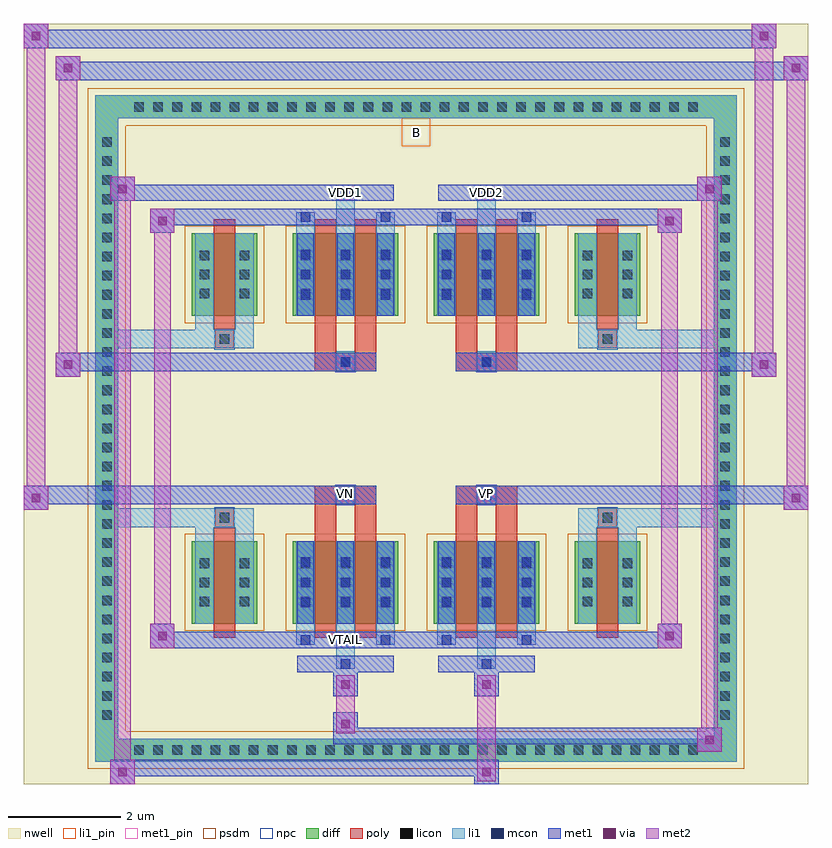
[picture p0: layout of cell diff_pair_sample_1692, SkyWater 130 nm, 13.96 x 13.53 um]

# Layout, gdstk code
import gdstk
lib = gdstk.Library(unit=1e-6, precision=5e-09)
def R(c, l, rs):  # rectangles x0, y0, x1, y1
    for r in rs: c.add(gdstk.rectangle(r[:2], r[2:], *l))
def A(c, l, x, y, w, h, nx, ny, dx, dy):  # array of equal rectangles
    R(c, l, [(x+i*dx, y+j*dy, x+i*dx+w, y+j*dy+h) for i in range(nx) for j in range(ny)])
def P(c, l, *ps):  # polygons
    for p in ps: c.add(gdstk.Polygon(p, *l))
nwell = (64, 20)
diff = (65, 20)
poly = (66, 20)
licon = (66, 44)
li1_pin = (67, 16)
li1 = (67, 20)
mcon = (67, 44)
met1_pin = (68, 16)
met1 = (68, 20)
via = (68, 44)
met2 = (69, 20)
psdm = (94, 20)
npc = (95, 20)

diff_pair_sample_1692 = lib.new_cell('diff_pair_sample_1692')
R(diff_pair_sample_1692, nwell, [(-6.98,-6.33,6.98,7.2), (-4.3,-4.52,-0.01,-0.82), (0.01,-4.52,4.3,-0.82), (-4.3,0.82,-0.01,4.52), (0.01,0.82,4.3,4.52)])
A(diff_pair_sample_1692, diff, -5.135, -5.93, 0.41, 0.41, 30, 2, 0.34, 11.45)
A(diff_pair_sample_1692, diff, -5.71, -5.305, 0.41, 0.41, 1, 31, 0, 0.34)
A(diff_pair_sample_1692, diff, 5.3, -5.305, 0.41, 0.41, 1, 31, 0, 0.34)
R(diff_pair_sample_1692, diff, [(-5.135,-5.93,5.135,-5.52), (-5.71,-5.305,-5.3,5.305), (5.3,-5.305,5.71,5.305), (-3.99,-3.475,-2.83,-2.005), (-2.19,-3.475,-0.32,-2.005), (0.32,-3.475,2.19,-2.005), (2.83,-3.475,3.99,-2.005), (-3.99,2.005,-2.83,3.475), (-2.19,2.005,-0.32,3.475), (0.32,2.005,2.19,3.475), (2.83,2.005,3.99,3.475), (-5.135,5.52,5.135,5.93)])
P(diff_pair_sample_1692, diff, [(5.71,5.93),(-5.71,5.93),(-5.71,-5.52),(-5.3,-5.52),(-5.3,5.52),(5.3,5.52),(5.3,-5.52),(-5.3,-5.52),(-5.71,-5.52),(-5.71,-5.93),(5.71,-5.93)])
R(diff_pair_sample_1692, poly, [(-3.6,-3.725,-3.22,-1.755), (-1.8,-3.725,-1.42,-1.755), (-1.09,-3.725,-0.71,-1.755), (0.71,-3.725,1.09,-1.755), (1.42,-3.725,1.8,-1.755), (3.22,-3.725,3.6,-1.755), (-3.575,-1.755,-3.245,-1.425), (-3.575,-1.755,-3.245,-1.425), (-1.8,-1.755,-1.42,-1.35), (-1.09,-1.755,-0.71,-1.35), (0.71,-1.755,1.09,-1.35), (1.42,-1.755,1.8,-1.35), (3.245,-1.755,3.575,-1.425), (3.245,-1.755,3.575,-1.425), (-1.8,-1.35,-0.71,-1.02), (-1.42,-1.35,-1.09,-1.02), (0.71,-1.35,1.8,-1.02), (1.09,-1.35,1.42,-1.02), (-1.8,1.02,-0.71,1.35), (-1.42,1.02,-1.09,1.35), (0.71,1.02,1.8,1.35), (1.09,1.02,1.42,1.35), (-1.8,1.35,-1.42,1.755), (-1.09,1.35,-0.71,1.755), (0.71,1.35,1.09,1.755), (1.42,1.35,1.8,1.755), (-3.575,1.425,-3.245,1.755), (-3.575,1.425,-3.245,1.755), (3.245,1.425,3.575,1.755), (3.245,1.425,3.575,1.755), (-3.6,1.755,-3.22,3.725), (-1.8,1.755,-1.42,3.725), (-1.09,1.755,-0.71,3.725), (0.71,1.755,1.09,3.725), (1.42,1.755,1.8,3.725), (3.22,1.755,3.6,3.725)])
A(diff_pair_sample_1692, licon, -5.015, -5.81, 0.17, 0.17, 30, 2, 0.34, 11.45)
A(diff_pair_sample_1692, licon, -5.59, -5.185, 0.17, 0.17, 1, 31, 0, 0.34)
A(diff_pair_sample_1692, licon, 5.42, -5.185, 0.17, 0.17, 1, 31, 0, 0.34)
A(diff_pair_sample_1692, licon, -3.85, -3.165, 0.17, 0.17, 1, 3, 0, 0.34)
A(diff_pair_sample_1692, licon, -3.14, -3.165, 0.17, 0.17, 1, 3, 0, 0.34)
A(diff_pair_sample_1692, licon, -2.05, -3.165, 0.17, 0.17, 3, 3, 0.71, 0.34)
A(diff_pair_sample_1692, licon, 0.46, -3.165, 0.17, 0.17, 3, 3, 0.71, 0.34)
A(diff_pair_sample_1692, licon, 2.97, -3.165, 0.17, 0.17, 1, 3, 0, 0.34)
A(diff_pair_sample_1692, licon, 3.68, -3.165, 0.17, 0.17, 1, 3, 0, 0.34)
A(diff_pair_sample_1692, licon, -3.85, 2.315, 0.17, 0.17, 1, 3, 0, 0.34)
A(diff_pair_sample_1692, licon, -3.14, 2.315, 0.17, 0.17, 1, 3, 0, 0.34)
A(diff_pair_sample_1692, licon, -2.05, 2.315, 0.17, 0.17, 3, 3, 0.71, 0.34)
A(diff_pair_sample_1692, licon, 0.46, 2.315, 0.17, 0.17, 3, 3, 0.71, 0.34)
A(diff_pair_sample_1692, licon, 2.97, 2.315, 0.17, 0.17, 1, 3, 0, 0.34)
A(diff_pair_sample_1692, licon, 3.68, 2.315, 0.17, 0.17, 1, 3, 0, 0.34)
R(diff_pair_sample_1692, licon, [(-3.495,-1.675,-3.325,-1.505), (3.325,-1.675,3.495,-1.505), (-1.34,-1.27,-1.17,-1.1), (1.17,-1.27,1.34,-1.1), (-1.34,1.1,-1.17,1.27), (1.17,1.1,1.34,1.27), (-3.495,1.505,-3.325,1.675), (3.325,1.505,3.495,1.675)])
R(diff_pair_sample_1692, li1_pin, [(-0.25,5.02,0.25,5.52)])
A(diff_pair_sample_1692, li1, -5.095, -5.89, 0.33, 0.33, 30, 2, 0.34, 11.45)
A(diff_pair_sample_1692, li1, -5.67, -5.265, 0.33, 0.33, 1, 31, 0, 0.34)
A(diff_pair_sample_1692, li1, 5.34, -5.265, 0.33, 0.33, 1, 31, 0, 0.34)
A(diff_pair_sample_1692, li1, -2.13, -3.475, 0.33, 1.47, 3, 2, 0.71, 5.48)
A(diff_pair_sample_1692, li1, 0.38, -3.475, 0.33, 1.47, 3, 2, 0.71, 5.48)
A(diff_pair_sample_1692, li1, -3.93, -3.245, 0.33, 0.33, 1, 3, 0, 0.34)
A(diff_pair_sample_1692, li1, -3.22, -3.245, 0.33, 0.33, 1, 3, 0, 0.34)
A(diff_pair_sample_1692, li1, -2.13, -3.245, 0.33, 0.33, 3, 3, 0.71, 0.34)
A(diff_pair_sample_1692, li1, 0.38, -3.245, 0.33, 0.33, 3, 3, 0.71, 0.34)
A(diff_pair_sample_1692, li1, 2.89, -3.245, 0.33, 0.33, 1, 3, 0, 0.34)
A(diff_pair_sample_1692, li1, 3.6, -3.245, 0.33, 0.33, 1, 3, 0, 0.34)
A(diff_pair_sample_1692, li1, -2.05, -3.185, 0.17, 0.17, 3, 3, 0.71, 0.36)
A(diff_pair_sample_1692, li1, -2.05, -3.185, 0.17, 0.89, 3, 2, 0.71, 5.48)
A(diff_pair_sample_1692, li1, 0.46, -3.185, 0.17, 0.17, 3, 3, 0.71, 0.36)
A(diff_pair_sample_1692, li1, 0.46, -3.185, 0.17, 0.89, 3, 2, 0.71, 5.48)
A(diff_pair_sample_1692, li1, -3.93, 2.235, 0.33, 0.33, 1, 3, 0, 0.34)
A(diff_pair_sample_1692, li1, -3.22, 2.235, 0.33, 0.33, 1, 3, 0, 0.34)
A(diff_pair_sample_1692, li1, -2.13, 2.235, 0.33, 0.33, 3, 3, 0.71, 0.34)
A(diff_pair_sample_1692, li1, 0.38, 2.235, 0.33, 0.33, 3, 3, 0.71, 0.34)
A(diff_pair_sample_1692, li1, 2.89, 2.235, 0.33, 0.33, 1, 3, 0, 0.34)
A(diff_pair_sample_1692, li1, 3.6, 2.235, 0.33, 0.33, 1, 3, 0, 0.34)
A(diff_pair_sample_1692, li1, -2.05, 2.295, 0.17, 0.17, 3, 3, 0.71, 0.36)
A(diff_pair_sample_1692, li1, 0.46, 2.295, 0.17, 0.17, 3, 3, 0.71, 0.36)
R(diff_pair_sample_1692, li1, [(-5.71,-5.93,-5.3,-5.52), (-5.71,-5.93,-5.3,-5.52), (-5.3,-5.93,5.3,-5.52), (5.3,-5.93,5.71,-5.52), (5.3,-5.93,5.71,-5.52), (-5.71,-5.52,-5.3,5.52), (5.3,-5.52,5.71,5.52), (-1.42,-4.28,-1.09,-3.475), (-1.34,-4.28,-1.17,-4.11), (1.09,-4.28,1.42,-3.475), (1.17,-4.28,1.34,-4.11), (-2.13,-3.85,-1.8,-3.475), (-2.05,-3.85,-1.88,-3.68), (-0.71,-3.85,-0.38,-3.475), (-0.63,-3.85,-0.46,-3.68), (0.38,-3.85,0.71,-3.475), (0.46,-3.85,0.63,-3.68), (1.8,-3.85,2.13,-3.475), (1.88,-3.85,2.05,-3.68), (-3.93,-3.475,-3.6,-2.005), (-3.22,-3.475,-2.89,-2.005), (2.89,-3.475,3.22,-2.005), (3.6,-3.475,3.93,-2.005), (-3.93,-2.005,-3.6,-1.425), (-3.22,-2.005,-2.89,-1.425), (2.89,-2.005,3.22,-1.425), (3.6,-2.005,3.93,-1.425), (-5.71,-1.755,-3.575,-1.425), (-3.93,-1.755,-3.575,-1.425), (-3.575,-1.755,-3.245,-1.425), (-3.245,-1.755,-2.89,-1.425), (2.89,-1.755,3.245,-1.425), (3.245,-1.755,3.575,-1.425), (3.245,-1.755,5.71,-1.425), (3.575,-1.755,3.93,-1.425), (-1.42,-1.35,-1.09,-1.02), (1.09,-1.35,1.42,-1.02), (-1.42,1.02,-1.09,1.35), (1.09,1.02,1.42,1.35), (-5.71,1.425,-3.575,1.755), (-3.93,1.425,-3.575,1.755), (-3.93,1.425,-3.6,2.005), (-3.575,1.425,-3.245,1.755), (-3.245,1.425,-2.89,1.755), (-3.22,1.425,-2.89,2.005), (2.89,1.425,3.245,1.755), (2.89,1.425,3.22,2.005), (3.245,1.425,3.575,1.755), (3.245,1.425,5.71,1.755), (3.575,1.425,3.93,1.755), (3.6,1.425,3.93,2.005), (-3.93,2.005,-3.6,3.475), (-3.22,2.005,-2.89,3.475), (2.89,2.005,3.22,3.475), (3.6,2.005,3.93,3.475), (-2.13,3.475,-1.8,3.85), (-1.42,3.475,-1.09,4.28), (-0.71,3.475,-0.38,3.85), (0.38,3.475,0.71,3.85), (1.09,3.475,1.42,4.28), (1.8,3.475,2.13,3.85), (-2.05,3.68,-1.88,3.85), (-0.63,3.68,-0.46,3.85), (0.46,3.68,0.63,3.85), (1.88,3.68,2.05,3.85), (-1.34,4.11,-1.17,4.28), (1.17,4.11,1.34,4.28), (-5.71,5.52,-5.3,5.93), (-5.71,5.52,-5.3,5.93), (-5.3,5.52,5.3,5.93), (5.3,5.52,5.71,5.93), (5.3,5.52,5.71,5.93)])
A(diff_pair_sample_1692, mcon, -2.05, -3.185, 0.17, 0.17, 3, 3, 0.71, 0.36)
A(diff_pair_sample_1692, mcon, 0.46, -3.185, 0.17, 0.17, 3, 3, 0.71, 0.36)
A(diff_pair_sample_1692, mcon, -2.05, 2.295, 0.17, 0.17, 3, 3, 0.71, 0.36)
A(diff_pair_sample_1692, mcon, 0.46, 2.295, 0.17, 0.17, 3, 3, 0.71, 0.36)
R(diff_pair_sample_1692, mcon, [(-1.34,-4.28,-1.17,-4.11), (1.17,-4.28,1.34,-4.11), (-2.05,-3.85,-1.88,-3.68), (-0.63,-3.85,-0.46,-3.68), (0.46,-3.85,0.63,-3.68), (1.88,-3.85,2.05,-3.68), (-1.34,-1.27,-1.17,-1.1), (1.17,-1.27,1.34,-1.1), (-1.34,1.1,-1.17,1.27), (1.17,1.1,1.34,1.27), (-2.05,3.68,-1.88,3.85), (-0.63,3.68,-0.46,3.85), (0.46,3.68,0.63,3.85), (1.88,3.68,2.05,3.85), (-1.34,4.11,-1.17,4.28), (1.17,4.11,1.34,4.28)])
R(diff_pair_sample_1692, met1_pin, [(-1.39,-3.89,-1.12,-3.62), (-1.39,-1.29,-1.12,-1.02), (1.12,-1.29,1.39,-1.02), (-1.39,4.07,-1.12,4.34), (1.12,4.07,1.39,4.34)])
A(diff_pair_sample_1692, met1, -2.11, -3.475, 0.29, 1.47, 3, 2, 0.71, 5.48)
A(diff_pair_sample_1692, met1, 0.4, -3.475, 0.29, 1.47, 3, 2, 0.71, 5.48)
A(diff_pair_sample_1692, met1, -2.11, -3.245, 0.29, 0.29, 3, 3, 0.71, 0.36)
A(diff_pair_sample_1692, met1, 0.4, -3.245, 0.29, 0.29, 3, 3, 0.71, 0.36)
A(diff_pair_sample_1692, met1, -2.11, 2.235, 0.29, 0.29, 3, 3, 0.71, 0.36)
A(diff_pair_sample_1692, met1, 0.4, 2.235, 0.29, 0.29, 3, 3, 0.71, 0.36)
R(diff_pair_sample_1692, met1, [(-5.44,-6.33,-5.01,-5.9), (1.04,-6.33,1.47,-5.9), (-5.44,-6.19,1.47,-5.9), (5.01,-5.76,5.44,-5.33), (-1.47,-5.62,5.44,-5.33), (-1.47,-5.48,-1.04,-5.05), (-1.47,-4.77,-1.04,-4.34), (1.04,-4.77,1.47,-4.34), (-2.11,-4.34,-0.4,-4.05), (-1.4,-4.34,-1.11,-4.05), (0.4,-4.34,2.11,-4.05), (1.11,-4.34,1.4,-4.05), (-4.73,-3.91,-4.3,-3.48), (-4.73,-3.91,-2.11,-3.62), (-2.11,-3.91,-1.82,-3.62), (-2.11,-3.91,-0.4,-3.62), (-0.69,-3.91,-0.4,-3.62), (-0.4,-3.91,0.4,-3.62), (0.4,-3.91,0.69,-3.62), (0.4,-3.91,2.11,-3.62), (1.82,-3.91,2.11,-3.62), (2.11,-3.91,4.73,-3.62), (4.3,-3.91,4.73,-3.48), (-6.98,-1.45,-6.55,-1.02), (6.55,-1.45,6.98,-1.02), (-6.98,-1.35,-0.71,-1.02), (-1.8,-1.35,-0.71,-1.02), (0.71,-1.35,1.8,-1.02), (0.71,-1.35,6.98,-1.02), (-1.4,-1.33,-1.11,-1.04), (1.11,-1.33,1.4,-1.04), (-6.41,0.92,-5.98,1.35), (5.98,0.92,6.41,1.35), (-6.41,1.02,-1.8,1.35), (-1.8,1.02,-0.71,1.35), (0.71,1.02,1.8,1.35), (1.8,1.02,6.41,1.35), (-1.4,1.04,-1.11,1.33), (1.11,1.04,1.4,1.33), (-4.73,3.48,-4.3,3.91), (4.3,3.48,4.73,3.91), (-4.73,3.62,-2.11,3.91), (-2.11,3.62,-1.82,3.91), (-2.11,3.62,-0.4,3.91), (-0.69,3.62,-0.4,3.91), (-0.4,3.62,0.4,3.91), (0.4,3.62,0.69,3.91), (0.4,3.62,2.11,3.91), (1.82,3.62,2.11,3.91), (2.11,3.62,4.73,3.91), (-5.44,4.05,-5.01,4.48), (-5.44,4.05,-2.11,4.34), (-2.11,4.05,-0.4,4.34), (-1.4,4.05,-1.11,4.34), (0.4,4.05,2.11,4.34), (1.11,4.05,1.4,4.34), (2.11,4.05,5.44,4.34), (5.01,4.05,5.44,4.48), (-6.41,6.2,-5.98,6.63), (-6.41,6.2,-4.3,6.53), (-4.3,6.2,4.3,6.53), (4.3,6.2,6.98,6.53), (6.55,6.2,6.98,6.63), (-6.98,6.77,-6.55,7.2), (-6.98,6.77,-4.3,7.1), (-4.3,6.77,4.3,7.1), (4.3,6.77,6.41,7.1), (5.98,6.77,6.41,7.2)])
R(diff_pair_sample_1692, via, [(-5.3,-6.19,-5.15,-6.04), (1.18,-6.19,1.33,-6.04), (5.15,-5.62,5.3,-5.47), (-1.33,-5.34,-1.18,-5.19), (-1.33,-4.63,-1.18,-4.48), (1.18,-4.63,1.33,-4.48), (-4.59,-3.77,-4.44,-3.62), (4.44,-3.77,4.59,-3.62), (-6.84,-1.31,-6.69,-1.16), (6.69,-1.31,6.84,-1.16), (-6.27,1.06,-6.12,1.21), (6.12,1.06,6.27,1.21), (-4.59,3.62,-4.44,3.77), (4.44,3.62,4.59,3.77), (-5.3,4.19,-5.15,4.34), (5.15,4.19,5.3,4.34), (-6.27,6.34,-6.12,6.49), (6.69,6.34,6.84,6.49), (-6.84,6.91,-6.69,7.06), (6.12,6.91,6.27,7.06)])
R(diff_pair_sample_1692, met2, [(-5.44,-6.33,-5.01,-5.9), (-5.37,-6.33,-5.08,4.48), (-5.08,-6.33,-5.01,-5.9), (-5.39,-6.28,-5.06,-5.95), (1.09,-6.28,1.42,-5.95), (1.09,-5.95,1.42,-4.72), (5.01,-5.76,5.44,-5.33), (5.08,-5.76,5.37,4.48), (5.37,-5.76,5.44,-5.33), (5.06,-5.71,5.39,-5.38), (-1.42,-5.43,-1.09,-5.1), (-1.42,-5.1,-1.09,-4.72), (-1.42,-4.72,-1.09,-4.39), (1.09,-4.72,1.42,-4.39), (-4.73,-3.91,-4.3,-3.48), (-4.66,-3.91,-4.37,3.91), (-4.37,-3.91,-4.3,-3.48), (4.3,-3.91,4.73,-3.48), (4.37,-3.91,4.66,3.91), (4.66,-3.91,4.73,-3.48), (-4.68,-3.86,-4.35,-3.53), (4.35,-3.86,4.68,-3.53), (-6.98,-1.45,-6.55,-1.02), (-6.93,-1.45,-6.6,7.2), (-6.6,-1.45,-6.55,-1.02), (6.55,-1.45,6.98,-1.02), (6.6,-1.45,6.93,6.63), (6.93,-1.45,6.98,-1.02), (-6.93,-1.4,-6.6,-1.07), (6.6,-1.4,6.93,-1.07), (-6.41,0.92,-5.98,1.35), (-6.36,0.92,-6.03,6.63), (-6.03,0.92,-5.98,1.35), (5.98,0.92,6.41,1.35), (6.03,0.92,6.36,7.2), (6.36,0.92,6.41,1.35), (-6.36,0.97,-6.03,1.3), (6.03,0.97,6.36,1.3), (-4.73,3.48,-4.3,3.91), (-4.37,3.48,-4.3,3.91), (4.3,3.48,4.73,3.91), (4.66,3.48,4.73,3.91), (-4.68,3.53,-4.35,3.86), (4.35,3.53,4.68,3.86), (-5.44,4.05,-5.01,4.48), (-5.08,4.05,-5.01,4.48), (5.01,4.05,5.44,4.48), (5.37,4.05,5.44,4.48), (-5.39,4.1,-5.06,4.43), (5.06,4.1,5.39,4.43), (-6.41,6.2,-5.98,6.63), (-6.03,6.2,-5.98,6.63), (6.55,6.2,6.98,6.63), (6.93,6.2,6.98,6.63), (-6.36,6.25,-6.03,6.58), (6.6,6.25,6.93,6.58), (-6.98,6.77,-6.55,7.2), (-6.6,6.77,-6.55,7.2), (5.98,6.77,6.41,7.2), (6.36,6.77,6.41,7.2), (-6.93,6.82,-6.6,7.15), (6.03,6.82,6.36,7.15)])
R(diff_pair_sample_1692, psdm, [(-4.12,-3.605,-2.7,-1.875), (-2.32,-3.605,-0.19,-1.875), (0.19,-3.605,2.32,-1.875), (2.7,-3.605,4.12,-1.875), (-4.12,1.875,-2.7,3.605), (-2.32,1.875,-0.19,3.605), (0.19,1.875,2.32,3.605), (2.7,1.875,4.12,3.605)])
P(diff_pair_sample_1692, psdm, [(5.84,6.06),(-5.84,6.06),(-5.84,-5.39),(-5.17,-5.39),(-5.17,5.39),(5.17,5.39),(5.17,-5.39),(-5.17,-5.39),(-5.84,-5.39),(-5.84,-6.06),(5.84,-6.06)])
R(diff_pair_sample_1692, npc, [(-3.595,-1.775,-3.225,-1.405), (3.225,-1.775,3.595,-1.405), (-1.44,-1.37,-1.07,-1), (1.07,-1.37,1.44,-1), (-1.44,1,-1.07,1.37), (1.07,1,1.44,1.37), (-3.595,1.405,-3.225,1.775), (3.225,1.405,3.595,1.775)])
diff_pair_sample_1692.add(gdstk.Label('VTAIL', (-1.255,-3.755), layer=68, texttype=5))
diff_pair_sample_1692.add(gdstk.Label('VN', (-1.255,-1.155), layer=68, texttype=5))
diff_pair_sample_1692.add(gdstk.Label('VP', (1.255,-1.155), layer=68, texttype=5))
diff_pair_sample_1692.add(gdstk.Label('B', (0,5.27), layer=67, texttype=5))
diff_pair_sample_1692.add(gdstk.Label('VDD2', (1.255,4.205), layer=68, texttype=5))
diff_pair_sample_1692.add(gdstk.Label('VDD1', (-1.255,4.205), layer=68, texttype=5))

lib.write_gds('diff_pair_sample_1692.gds')
